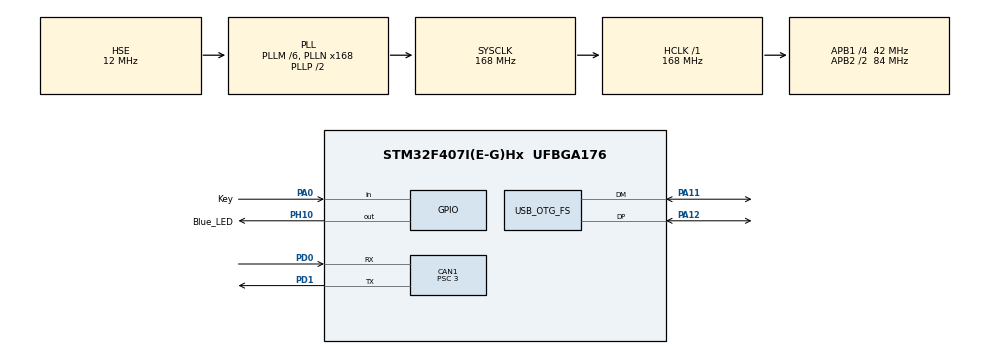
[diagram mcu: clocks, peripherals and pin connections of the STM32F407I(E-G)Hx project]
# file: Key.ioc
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CAN1.AutoBusOff=ENABLE
CAN1.AutoRetransmission=ENABLE
CAN1.BS1=CAN_BS1_10TQ
CAN1.BS2=CAN_BS2_3TQ
CAN1.CalculateBaudRate=1000000
CAN1.CalculateTimeBit=1000
CAN1.CalculateTimeQuantum=71.42857142857143
CAN1.Prescaler=3
Mcu.Family=STM32F4
Mcu.Name=STM32F407I(E-G)Hx
Mcu.Package=UFBGA176
NVIC.CAN1_RX0_IRQn=true\:1\:0\:false\:false\:true\:true\:true\:true
NVIC.OTG_FS_IRQn=true\:0\:0\:false\:false\:true\:false\:true\:true
NVIC.PriorityGroup=NVIC_PRIORITYGROUP_4
NVIC.TIM6_DAC_IRQn=true\:1\:0\:false\:false\:true\:true\:true\:true
PA0-WKUP.GPIO_Label=Key
PA0-WKUP.GPIO_PuPd=GPIO_PULLUP
PA0-WKUP.Signal=GPIO_Input
PA11.Mode=Device_Only
PA11.Signal=USB_OTG_FS_DM
PA12.Mode=Device_Only
PA12.Signal=USB_OTG_FS_DP
PD0.Mode=CAN_Activate
PD0.Signal=CAN1_RX
PD1.Mode=CAN_Activate
PD1.Signal=CAN1_TX
PH0-OSC_IN.Mode=HSE-External-Oscillator
PH0-OSC_IN.Signal=RCC_OSC_IN
PH1-OSC_OUT.Mode=HSE-External-Oscillator
PH1-OSC_OUT.Signal=RCC_OSC_OUT
PH10.GPIO_Label=Blue_LED
PH10.Signal=GPIO_Output
ProjectManager.HeapSize=0x200
ProjectManager.StackSize=0x400
ProjectManager.TargetToolchain=CMake
RCC.48MHZClocksFreq_Value=48000000
RCC.AHBFreq_Value=168000000
RCC.APB1CLKDivider=RCC_HCLK_DIV4
RCC.APB1Freq_Value=42000000
RCC.APB1TimFreq_Value=84000000
RCC.APB2CLKDivider=RCC_HCLK_DIV2
RCC.APB2Freq_Value=84000000
RCC.APB2TimFreq_Value=168000000
RCC.CortexFreq_Value=168000000
RCC.HCLKFreq_Value=168000000
RCC.HSE_VALUE=12000000
RCC.HSI_VALUE=16000000
RCC.LSE_VALUE=32768
RCC.PLLM=6
RCC.PLLN=168
RCC.PLLQ=7
RCC.SYSCLKFreq_VALUE=168000000
RCC.SYSCLKSource=RCC_SYSCLKSOURCE_PLLCLK
RCC.VCOOutputFreq_Value=336000000
TIM6.Period=999
TIM6.Prescaler=83
USB_DEVICE.CLASS_NAME_FS=CDC
USB_DEVICE.VirtualMode-CDC_FS=Cdc
USB_DEVICE.VirtualModeFS=Cdc_FS
USB_OTG_FS.VirtualMode=Device_Only
USB_OTG_FS.vbus_sensing_enable=DISABLE
VP_TIM6_VS_ClockSourceINT.Mode=Enable_Timer
VP_USB_DEVICE_VS_USB_DEVICE_CDC_FS.Mode=CDC_FS
board=custom

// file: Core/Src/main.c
/* USER CODE BEGIN Header */
/**
  ******************************************************************************
  * @file           : main.c
  * @brief          : Main program body
  ******************************************************************************
  * @attention
  *
  * Copyright (c) 2026 STMicroelectronics.
  * All rights reserved.
  *
  * This software is licensed under terms that can be found in the LICENSE file
  * in the root directory of this software component.
  * If no LICENSE file comes with this software, it is provided AS-IS.
  *
  ******************************************************************************
  */
/* USER CODE END Header */
#include "main.h"
#include "usb_device.h"

/* USER CODE BEGIN Includes */
#include "motor_control.h"
#include "motor_telemetry.h"

/* USER CODE END Includes */

/* USER CODE BEGIN PTD */
typedef struct {
  GPIO_PinState stable_state;
  uint8_t count;
} KeyDebounce_t;
/* USER CODE END PTD */

/* USER CODE BEGIN PD */
#define KEY_DEBOUNCE_SAMPLES 20U  /* TIM6 samples once every 1 ms.  TIM6 每1ms采样一次 */
/* USER CODE END PD */

CAN_HandleTypeDef hcan1;

TIM_HandleTypeDef htim6;

/* USER CODE BEGIN PV */
/**
  * @brief  Key debounce structure.
  */
// 定义按键消抖结构体
static KeyDebounce_t key = {GPIO_PIN_SET, 0U};
/* USER CODE END PV */

void SystemClock_Config(void);
static void MX_GPIO_Init(void);
static void MX_TIM6_Init(void);
static void MX_CAN1_Init(void);

/* USER CODE BEGIN 0 */
/**
  * @brief  Update the key state with debounce logic.
  * @param  key: Pointer to the KeyDebounce_t structure.
  * @param  raw: The raw GPIO pin state (GPIO_PIN_SET or GPIO_PIN_RESET).
  * @retval 1 if the key is considered pressed (stable low), 0 otherwise.
  */
static uint8_t key_update(KeyDebounce_t *key, GPIO_PinState raw)
{
  if (raw == key->stable_state)
  {
    key->count = 0U;
    return 0U;
  }

  if (++key->count >= KEY_DEBOUNCE_SAMPLES)
  {
    key->count = 0U;
    key->stable_state = raw;
    return raw == GPIO_PIN_RESET;
  }

  return 0U;
}
/* USER CODE END 0 */

int main(void)
{

  /* MCU Configuration--------------------------------------------------------*/

  /* Reset of all peripherals, Initializes the Flash interface and the Systick. */
  HAL_Init();

  /* Configure the system clock */
  SystemClock_Config();

  /* Initialize all configured peripherals */
  MX_GPIO_Init();
  MX_TIM6_Init();
  MX_CAN1_Init();

  /* USER CODE BEGIN 2 */
  if (Motor_Init() != HAL_OK) {
    Error_Handler();
  }
  MX_USB_DEVICE_Init();
  // HAL initialization generates an update event; clear it before starting.
  __HAL_TIM_CLEAR_FLAG(&htim6, TIM_FLAG_UPDATE);
  __HAL_TIM_SET_COUNTER(&htim6, 0U);
  if (HAL_TIM_Base_Start_IT(&htim6) != HAL_OK) {
    Error_Handler();
  }
  /* USER CODE END 2 */

  /* Infinite loop */
  while (1)
  {

    /* USER CODE BEGIN 3 */
    Motor_TelemetryPoll();

  }
  /* USER CODE END 3 */
}

void SystemClock_Config(void)
{
  RCC_OscInitTypeDef RCC_OscInitStruct = {0};
  RCC_ClkInitTypeDef RCC_ClkInitStruct = {0};

  /** Configure the main internal regulator output voltage
  */
  __HAL_RCC_PWR_CLK_ENABLE();
  __HAL_PWR_VOLTAGESCALING_CONFIG(PWR_REGULATOR_VOLTAGE_SCALE1);

  /** Initializes the RCC Oscillators according to the specified parameters
  * in the RCC_OscInitTypeDef structure.
  */
  RCC_OscInitStruct.OscillatorType = RCC_OSCILLATORTYPE_HSE;
  RCC_OscInitStruct.HSEState = RCC_HSE_ON;
  RCC_OscInitStruct.PLL.PLLState = RCC_PLL_ON;
  RCC_OscInitStruct.PLL.PLLSource = RCC_PLLSOURCE_HSE;
  RCC_OscInitStruct.PLL.PLLM = 6;
  RCC_OscInitStruct.PLL.PLLN = 168;
  RCC_OscInitStruct.PLL.PLLP = RCC_PLLP_DIV2;
  RCC_OscInitStruct.PLL.PLLQ = 7;
  if (HAL_RCC_OscConfig(&RCC_OscInitStruct) != HAL_OK)
  {
    Error_Handler();
  }

  /** Initializes the CPU, AHB and APB buses clocks
  */
  RCC_ClkInitStruct.ClockType = RCC_CLOCKTYPE_HCLK|RCC_CLOCKTYPE_SYSCLK
                              |RCC_CLOCKTYPE_PCLK1|RCC_CLOCKTYPE_PCLK2;
  RCC_ClkInitStruct.SYSCLKSource = RCC_SYSCLKSOURCE_PLLCLK;
  RCC_ClkInitStruct.AHBCLKDivider = RCC_SYSCLK_DIV1;
  RCC_ClkInitStruct.APB1CLKDivider = RCC_HCLK_DIV4;
  RCC_ClkInitStruct.APB2CLKDivider = RCC_HCLK_DIV2;

  if (HAL_RCC_ClockConfig(&RCC_ClkInitStruct, FLASH_LATENCY_5) != HAL_OK)
  {
    Error_Handler();
  }
}

static void MX_CAN1_Init(void)
{

  hcan1.Instance = CAN1;
  hcan1.Init.Prescaler = 3;
  hcan1.Init.Mode = CAN_MODE_NORMAL;
  hcan1.Init.SyncJumpWidth = CAN_SJW_1TQ;
  hcan1.Init.TimeSeg1 = CAN_BS1_10TQ;
  hcan1.Init.TimeSeg2 = CAN_BS2_3TQ;
  hcan1.Init.TimeTriggeredMode = DISABLE;
  hcan1.Init.AutoBusOff = ENABLE;
  hcan1.Init.AutoWakeUp = DISABLE;
  hcan1.Init.AutoRetransmission = ENABLE;
  hcan1.Init.ReceiveFifoLocked = DISABLE;
  hcan1.Init.TransmitFifoPriority = DISABLE;
  if (HAL_CAN_Init(&hcan1) != HAL_OK)
  {
    Error_Handler();
  }

}

static void MX_TIM6_Init(void)
{

  TIM_MasterConfigTypeDef sMasterConfig = {0};

  htim6.Instance = TIM6;
  htim6.Init.Prescaler = 83;
  htim6.Init.CounterMode = TIM_COUNTERMODE_UP;
  htim6.Init.Period = 999;
  htim6.Init.AutoReloadPreload = TIM_AUTORELOAD_PRELOAD_DISABLE;
  if (HAL_TIM_Base_Init(&htim6) != HAL_OK)
  {
    Error_Handler();
  }
  sMasterConfig.MasterOutputTrigger = TIM_TRGO_RESET;
  sMasterConfig.MasterSlaveMode = TIM_MASTERSLAVEMODE_DISABLE;
  if (HAL_TIMEx_MasterConfigSynchronization(&htim6, &sMasterConfig) != HAL_OK)
  {
    Error_Handler();
  }

}

static void MX_GPIO_Init(void)
{
  GPIO_InitTypeDef GPIO_InitStruct = {0};

  /* GPIO Ports Clock Enable */
  __HAL_RCC_GPIOD_CLK_ENABLE();
  __HAL_RCC_GPIOA_CLK_ENABLE();
  __HAL_RCC_GPIOH_CLK_ENABLE();

  /*Configure GPIO pin Output Level */
  HAL_GPIO_WritePin(Blue_LED_GPIO_Port, Blue_LED_Pin, GPIO_PIN_RESET);

  /*Configure GPIO pin : Blue_LED_Pin */
  GPIO_InitStruct.Pin = Blue_LED_Pin;
  GPIO_InitStruct.Mode = GPIO_MODE_OUTPUT_PP;
  GPIO_InitStruct.Pull = GPIO_NOPULL;
  GPIO_InitStruct.Speed = GPIO_SPEED_FREQ_LOW;
  HAL_GPIO_Init(Blue_LED_GPIO_Port, &GPIO_InitStruct);

  /*Configure GPIO pin : Key_Pin */
  GPIO_InitStruct.Pin = Key_Pin;
  GPIO_InitStruct.Mode = GPIO_MODE_INPUT;
  GPIO_InitStruct.Pull = GPIO_PULLUP;
  HAL_GPIO_Init(Key_GPIO_Port, &GPIO_InitStruct);

}

/* USER CODE BEGIN 4 */
void HAL_TIM_PeriodElapsedCallback(TIM_HandleTypeDef *htim)
{
  if (htim->Instance == TIM6) {
    uint8_t pressed = key_update(&key, HAL_GPIO_ReadPin(Key_GPIO_Port, Key_Pin));
    if (pressed) {
      HAL_GPIO_TogglePin(Blue_LED_GPIO_Port, Blue_LED_Pin);
    }
    Motor_ControlTick(pressed);
  }
}
/* USER CODE END 4 */

void Error_Handler(void)
{
  __disable_irq();
  while (1)
  {
  }
}
